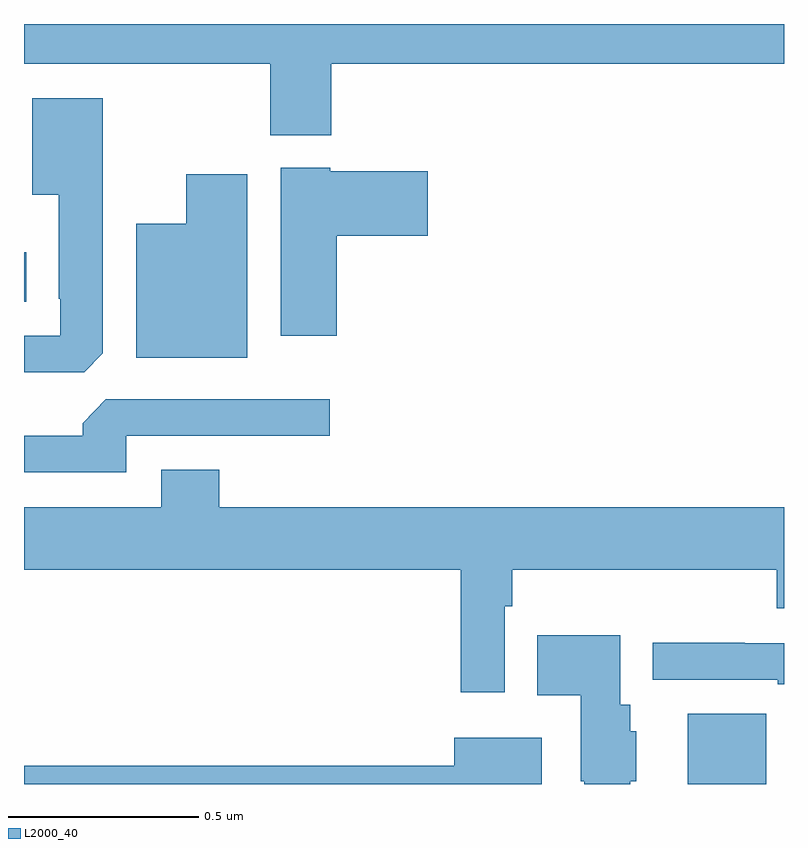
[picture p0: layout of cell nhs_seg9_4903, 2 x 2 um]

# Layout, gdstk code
import gdstk
lib = gdstk.Library(unit=1e-6, precision=1e-09)
def R(c, l, rs):  # rectangles x0, y0, x1, y1
    for r in rs: c.add(gdstk.rectangle(r[:2], r[2:], *l))
def P(c, l, *ps):  # polygons
    for p in ps: c.add(gdstk.Polygon(p, *l))
L2000_40 = (2000, 40)

nhs_seg9_4903 = lib.new_cell('nhs_seg9_4903')
R(nhs_seg9_4903, L2000_40, [(173.747,1218.5,173.953,1218.685), (172,1219.769,172.006,1219.9)])
P(nhs_seg9_4903, L2000_40, [(172.808,1220.396),(174,1220.396),(174,1220.5),(172,1220.5),(172,1220.396),(172.648,1220.396),(172.648,1220.207),(172.808,1220.207)],
  [(172.207,1219.633),(172.207,1220.305),(172.022,1220.305),(172.022,1220.051),(172.091,1220.051),(172.091,1219.777),(172.095,1219.777),(172.095,1219.68),(172,1219.68),(172,1219.584),(172.158,1219.584)],
  [(172.823,1219.943),(173.062,1219.943),(173.062,1220.113),(172.806,1220.113),(172.806,1220.122),(172.676,1220.122),(172.676,1219.68),(172.823,1219.68)],
  [(172.588,1220.104),(172.427,1220.104),(172.427,1219.975),(172.295,1219.975),(172.295,1219.622),(172.588,1219.622)],
  [(172.269,1219.416),(172.804,1219.416),(172.804,1219.512),(172.215,1219.512),(172.154,1219.45),(172.154,1219.416),(172,1219.416),(172,1219.32),(172.269,1219.32)],
  [(173.265,1218.968),(173.285,1218.968),(173.285,1219.064),(173.981,1219.064),(173.981,1218.962),(174,1218.962),(174,1219.228),(172.514,1219.228),(172.514,1219.327),(172.361,1219.327),(172.361,1219.228),(172,1219.228),(172,1219.064),(173.149,1219.064),(173.149,1218.741),(173.265,1218.741)],
  [(173.596,1218.507),(173.611,1218.507),(173.611,1218.639),(173.596,1218.639),(173.596,1218.708),(173.569,1218.708),(173.569,1218.892),(173.35,1218.892),(173.35,1218.734),(173.465,1218.734),(173.465,1218.507),(173.474,1218.507),(173.474,1218.5),(173.596,1218.5)],
  [(174,1218.87),(173.897,1218.87),(173.897,1218.872),(173.655,1218.872),(173.655,1218.774),(173.984,1218.774),(173.984,1218.762),(174,1218.762)],
  [(173.362,1218.622),(173.132,1218.622),(173.132,1218.548),(172,1218.548),(172,1218.5),(173.362,1218.5)])

lib.write_gds('nhs_seg9_4903.gds')
